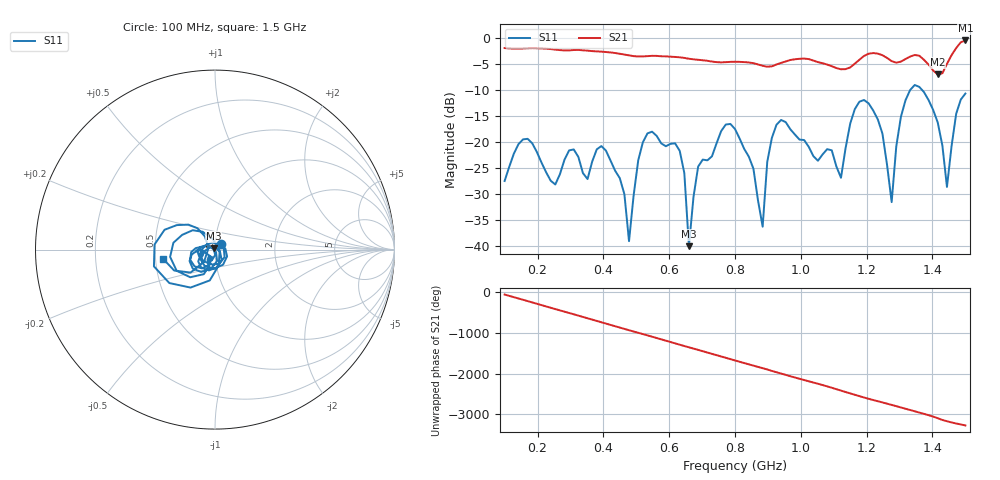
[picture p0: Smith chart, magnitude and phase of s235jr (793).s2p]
! NanoVNA-App
! Date: 2025-09-25 15:10:20
! Start: 100MHz Stop: 1,5GHz Points: 101
! S-Parameter data: F S11 S21 S12 S22
# Hz S RI R 50
!  Frequency  S11_Real  S11_Imag  S21_Real  S21_Imag  S12_Real  S12_Imag  S22_Real  S22_Imag
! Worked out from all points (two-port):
!   101 points, 100 MHz to 1.5 GHz, reference 50 ohm
!   highest |S21| = -0.51 dB at 1.5 GHz (marker M1); lowest = -7.0 dB at 1.416 GHz (marker M2)
!   |S21| within 3 dB of the highest: start of sweep to 491.4 MHz; 1.191 GHz to 1.252 GHz (61.03 MHz wide, 4.99 % of centre) (the widest 2 of 5)
!   lowest |S11| = -40.0 dB at 660 MHz (marker M3), VSWR 1.02, Z = 49.2 + j0.636 ohm
!   |S11| at or under -10 dB: start of sweep to 1.332 GHz; 1.368 GHz to end of sweep
!   S12 and S22 are empty: the file has one direction only
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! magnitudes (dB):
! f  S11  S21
! 100 MHz  -27.5  -2.0
! 170 MHz  -19.4  -2.0
! 338 MHz  -26.0  -2.4
! 408 MHz  -21.7  -2.7
! 478 MHz  -39.0  -3.4
! 520 MHz  -20.1  -3.6
! 576 MHz  -20.3  -3.5
! 632 MHz  -21.7  -3.7
! 660 MHz  -40.0  -4.0
! 688 MHz  -24.7  -4.2
! 800 MHz  -17.5  -4.6
! 884 MHz  -36.2  -5.4
! 926 MHz  -16.7  -5.1
! 1.038 GHz  -22.7  -4.4
! 1.122 GHz  -26.8  -6.0
! 1.192 GHz  -11.9  -3.5
! 1.248 GHz  -18.4  -3.3
! 1.276 GHz  -31.5  -4.5
! 1.332 GHz  -10.0  -3.6
! 1.416 GHz  -16.2  -7.0
! 1.444 GHz  -28.6  -5.0
! 1.5 GHz  -10.7  -0.5
